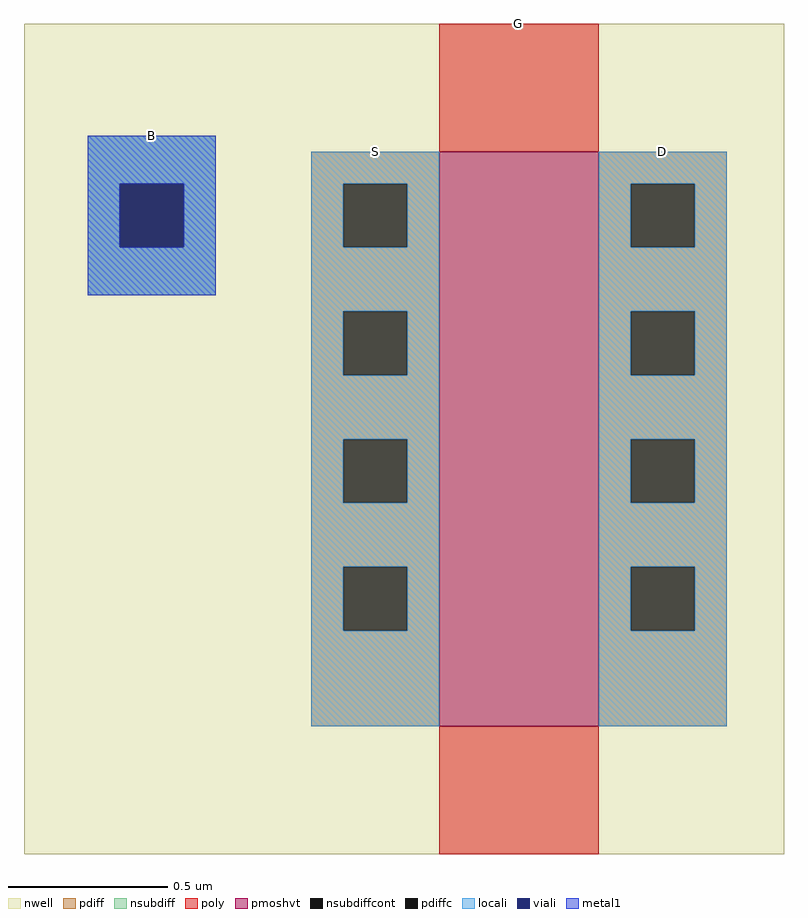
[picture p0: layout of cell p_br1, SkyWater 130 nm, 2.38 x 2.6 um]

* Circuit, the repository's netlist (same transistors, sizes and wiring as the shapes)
* NGSPICE file created from p_br1.ext - technology: sky130A

.subckt p_br1 G S D B
X0 D G S B sky130_fd_pr__pfet_01v8_hvt ad=0.72 pd=4.4 as=0.72 ps=4.4 w=1.8 l=0.5
.ends

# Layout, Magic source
magic
tech sky130A
<< nwell >>
rect -130 -40 108 220
<< pmoshvt >>
rect 0 0 50 180
<< pdiff >>
rect -40 170 0 180
rect -40 150 -30 170
rect -10 150 0 170
rect -40 130 0 150
rect -40 110 -30 130
rect -10 110 0 130
rect -40 90 0 110
rect -40 70 -30 90
rect -10 70 0 90
rect -40 50 0 70
rect -40 30 -30 50
rect -10 30 0 50
rect -40 0 0 30
rect 50 170 90 180
rect 50 150 60 170
rect 80 150 90 170
rect 50 130 90 150
rect 50 110 60 130
rect 80 110 90 130
rect 50 90 90 110
rect 50 70 60 90
rect 80 70 90 90
rect 50 50 90 70
rect 50 30 60 50
rect 80 30 90 50
rect 50 0 90 30
<< pdiffc >>
rect -30 150 -10 170
rect -30 110 -10 130
rect -30 70 -10 90
rect -30 30 -10 50
rect 60 150 80 170
rect 60 110 80 130
rect 60 70 80 90
rect 60 30 80 50
<< nsubdiff >>
rect -110 170 -70 185
rect -110 150 -100 170
rect -80 150 -70 170
rect -110 135 -70 150
<< nsubdiffcont >>
rect -100 150 -80 170
<< poly >>
rect 0 180 50 220
rect 0 -40 50 0
<< locali >>
rect -110 170 -70 185
rect -110 150 -100 170
rect -80 150 -70 170
rect -110 135 -70 150
rect -40 170 0 180
rect -40 150 -30 170
rect -10 150 0 170
rect -40 130 0 150
rect -40 110 -30 130
rect -10 110 0 130
rect -40 90 0 110
rect -40 70 -30 90
rect -10 70 0 90
rect -40 50 0 70
rect -40 30 -30 50
rect -10 30 0 50
rect -40 0 0 30
rect 50 170 90 180
rect 50 150 60 170
rect 80 150 90 170
rect 50 130 90 150
rect 50 110 60 130
rect 80 110 90 130
rect 50 90 90 110
rect 50 70 60 90
rect 80 70 90 90
rect 50 50 90 70
rect 50 30 60 50
rect 80 30 90 50
rect 50 0 90 30
<< viali >>
rect -100 150 -80 170
<< metal1 >>
rect -110 170 -70 185
rect -110 150 -100 170
rect -80 150 -70 170
rect -110 135 -70 150
<< labels >>
rlabel metal1 -90 185 -90 185 1 B
port 4 n
rlabel locali -20 180 -20 180 1 S
port 2 n
rlabel locali 70 180 70 180 1 D
port 3 n
rlabel poly 25 220 25 220 1 G
port 1 n
<< end >>
